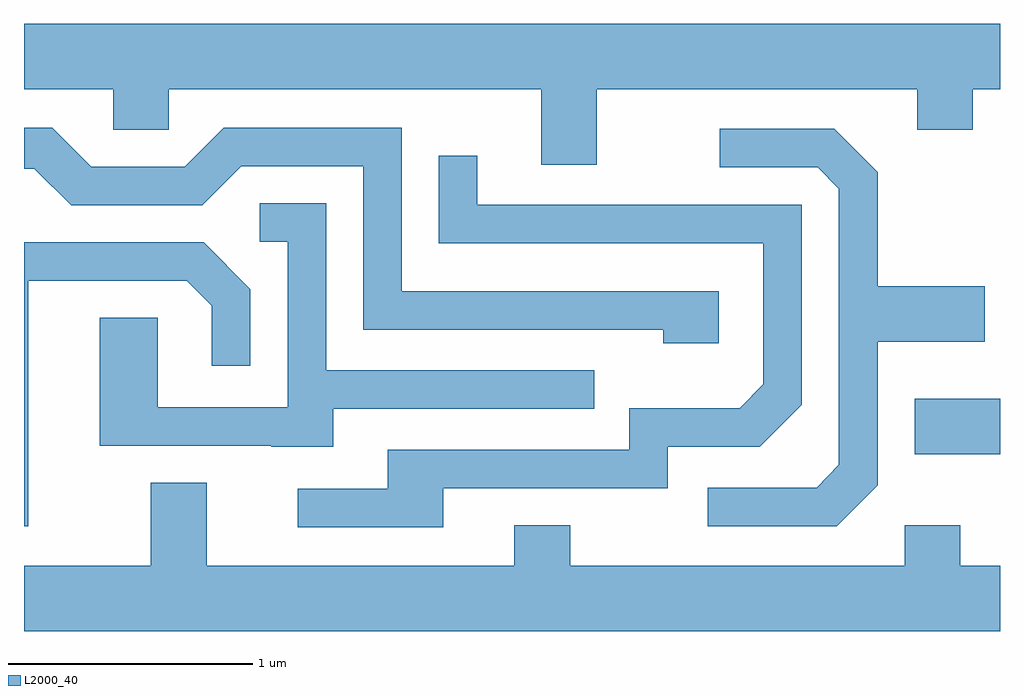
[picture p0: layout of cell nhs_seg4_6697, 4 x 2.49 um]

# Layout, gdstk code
import gdstk
lib = gdstk.Library(unit=1e-6, precision=1e-09)
def R(c, l, rs):  # rectangles x0, y0, x1, y1
    for r in rs: c.add(gdstk.rectangle(r[:2], r[2:], *l))
def P(c, l, *ps):  # polygons
    for p in ps: c.add(gdstk.Polygon(p, *l))
L2000_40 = (2000, 40)

nhs_seg4_6697 = lib.new_cell('nhs_seg4_6697')
R(nhs_seg4_6697, L2000_40, [(385.261,1322.101,385.611,1322.329)])
P(nhs_seg4_6697, L2000_40, [(383.959,1323.596),(385.271,1323.596),(385.271,1323.431),(385.499,1323.431),(385.499,1323.596),(385.611,1323.596),(385.611,1323.864),(381.611,1323.864),(381.611,1323.596),(381.976,1323.596),(381.976,1323.431),(382.204,1323.431),(382.204,1323.596),(383.731,1323.596),(383.731,1323.286),(383.959,1323.286)],
  [(384.459,1322.769),(383.159,1322.769),(383.159,1323.439),(382.429,1323.439),(382.269,1323.279),(381.887,1323.279),(381.727,1323.439),(381.611,1323.439),(381.611,1323.271),(381.654,1323.271),(381.804,1323.121),(382.342,1323.121),(382.502,1323.281),(383.001,1323.281),(383.001,1322.611),(384.231,1322.611),(384.231,1322.556),(384.459,1322.556)],
  [(385.109,1321.974),(385.109,1322.561),(385.549,1322.561),(385.549,1322.789),(385.109,1322.789),(385.109,1323.257),(384.932,1323.434),(384.463,1323.434),(384.463,1323.276),(384.864,1323.276),(384.951,1323.189),(384.951,1322.057),(384.859,1321.964),(384.413,1321.964),(384.413,1321.806),(384.942,1321.806)],
  [(383.329,1321.961),(384.249,1321.961),(384.249,1322.131),(384.627,1322.131),(384.799,1322.304),(384.799,1323.124),(383.469,1323.124),(383.469,1323.323),(383.311,1323.323),(383.311,1322.966),(384.641,1322.966),(384.641,1322.387),(384.544,1322.289),(384.091,1322.289),(384.091,1322.119),(383.101,1322.119),(383.101,1321.959),(382.733,1321.959),(382.733,1321.801),(383.329,1321.801)],
  [(382.879,1322.286),(383.948,1322.286),(383.948,1322.444),(382.849,1322.444),(382.849,1323.129),(382.578,1323.129),(382.578,1322.971),(382.691,1322.971),(382.691,1322.294),(382.159,1322.294),(382.159,1322.659),(381.921,1322.659),(381.921,1322.136),(382.625,1322.136),(382.625,1322.131),(382.879,1322.131)],
  [(381.629,1322.811),(382.279,1322.811),(382.381,1322.709),(382.381,1322.463),(382.539,1322.463),(382.539,1322.777),(382.347,1322.969),(381.611,1322.969),(381.611,1321.806),(381.629,1321.806)],
  [(385.611,1321.644),(385.449,1321.644),(385.449,1321.809),(385.221,1321.809),(385.221,1321.644),(383.849,1321.644),(383.849,1321.809),(383.621,1321.809),(383.621,1321.644),(382.359,1321.644),(382.359,1321.984),(382.131,1321.984),(382.131,1321.644),(381.611,1321.644),(381.611,1321.376),(385.611,1321.376)])

lib.write_gds('nhs_seg4_6697.gds')
